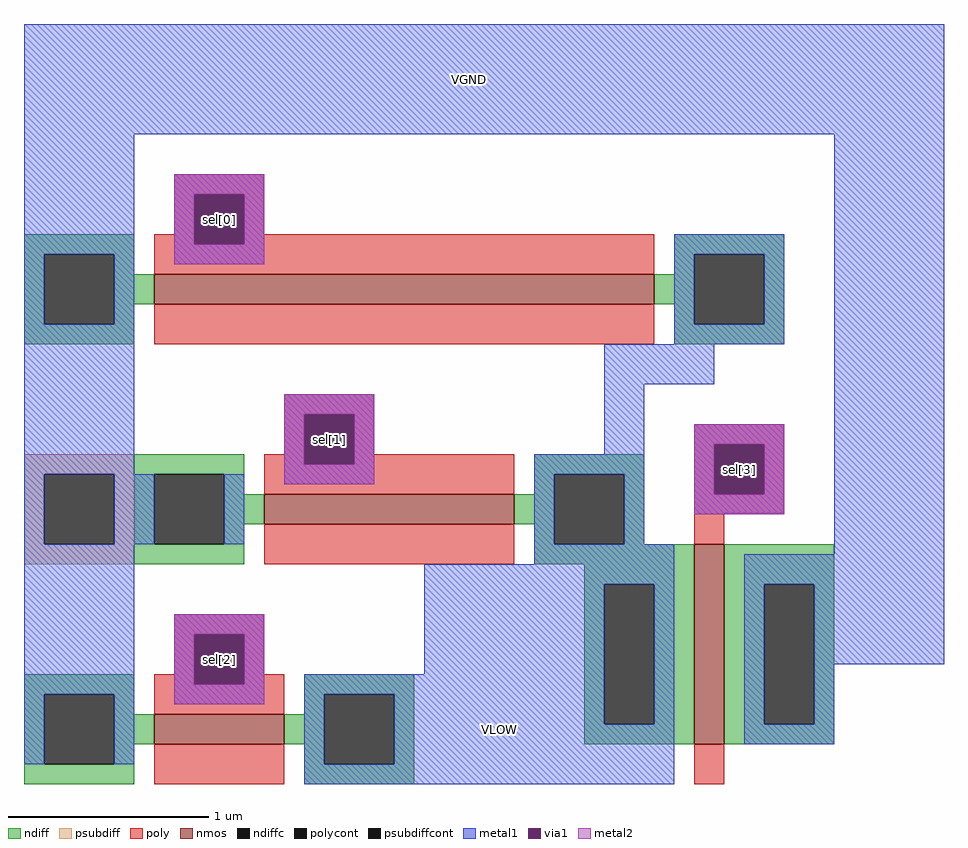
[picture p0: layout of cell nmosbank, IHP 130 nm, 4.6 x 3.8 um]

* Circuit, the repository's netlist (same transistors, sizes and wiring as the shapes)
** sch_path: /home/anton/projects/ttihp26a-fomo/xschem/nmosbank.sch
.subckt nmosbank VGND VLOW sel[3] sel[2] sel[1] sel[0]
*.PININFO VGND:I VLOW:O sel[3:0]:I
M2 VLOW sel[0] VGND VGND sg13_lv_nmos w=0.15u l=2.5u ng=1
M4 VLOW sel[1] VGND VGND sg13_lv_nmos w=0.15u l=1.25u ng=1
M5 VLOW sel[2] VGND VGND sg13_lv_nmos w=0.15u l=0.65u ng=1
M7 VLOW sel[3] VGND VGND sg13_lv_nmos w=1u l=0.15u ng=1
.ends

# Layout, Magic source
magic
tech ihp-sg13g2
<< nmos >>
rect 0 0 250 15
rect 55 -110 180 -95
rect 0 -220 65 -205
rect 270 -220 285 -120
<< ndiff >>
rect -65 25 -10 35
rect -65 -10 -55 25
rect -20 15 -10 25
rect 260 25 315 35
rect 260 15 270 25
rect -20 0 0 15
rect 250 0 270 15
rect -20 -10 -10 0
rect -65 -20 -10 -10
rect 260 -10 270 0
rect 305 -10 315 25
rect 260 -20 315 -10
rect -10 -85 45 -75
rect -10 -120 0 -85
rect 35 -95 45 -85
rect 190 -85 245 -75
rect 190 -95 200 -85
rect 35 -110 55 -95
rect 180 -110 200 -95
rect 35 -120 45 -110
rect -10 -130 45 -120
rect 190 -120 200 -110
rect 235 -120 245 -85
rect 190 -130 270 -120
rect 215 -140 270 -130
rect -65 -195 -10 -185
rect -65 -230 -55 -195
rect -20 -205 -10 -195
rect 75 -195 130 -185
rect 75 -205 85 -195
rect -20 -220 0 -205
rect 65 -220 85 -205
rect -20 -230 -10 -220
rect -65 -240 -10 -230
rect 75 -230 85 -220
rect 120 -230 130 -195
rect 215 -210 225 -140
rect 250 -210 270 -140
rect 215 -220 270 -210
rect 285 -140 340 -120
rect 285 -210 305 -140
rect 330 -210 340 -140
rect 285 -220 340 -210
rect 75 -240 130 -230
<< ndiffc >>
rect -55 -10 -20 25
rect 270 -10 305 25
rect 0 -120 35 -85
rect 200 -120 235 -85
rect -55 -230 -20 -195
rect 85 -230 120 -195
rect 225 -210 250 -140
rect 305 -210 330 -140
<< psubdiff >>
rect -65 -85 -10 -75
rect -65 -120 -55 -85
rect -20 -120 -10 -85
rect -65 -130 -10 -120
<< psubdiffcont >>
rect -55 -120 -20 -85
<< poly >>
rect 10 55 55 65
rect 10 35 20 55
rect 0 30 20 35
rect 45 35 55 55
rect 45 30 250 35
rect 0 15 250 30
rect 0 -20 250 0
rect 65 -55 110 -45
rect 65 -75 75 -55
rect 55 -80 75 -75
rect 100 -75 110 -55
rect 270 -70 315 -60
rect 100 -80 180 -75
rect 55 -95 180 -80
rect 55 -130 180 -110
rect 270 -95 280 -70
rect 305 -95 315 -70
rect 270 -105 315 -95
rect 270 -120 285 -105
rect 10 -165 55 -155
rect 10 -185 20 -165
rect 0 -190 20 -185
rect 45 -185 55 -165
rect 45 -190 65 -185
rect 0 -205 65 -190
rect 0 -240 65 -220
rect 270 -240 285 -220
<< polycont >>
rect 20 30 45 55
rect 75 -80 100 -55
rect 280 -95 305 -70
rect 20 -190 45 -165
<< metal1 >>
rect -65 85 395 140
rect -65 25 -10 85
rect -65 -10 -55 25
rect -20 -10 -10 25
rect 10 55 55 65
rect 10 30 20 55
rect 45 30 55 55
rect 10 20 55 30
rect 260 25 315 35
rect -65 -85 -10 -10
rect 260 -10 270 25
rect 305 -10 315 25
rect 260 -20 315 -10
rect 225 -40 280 -20
rect 65 -55 110 -45
rect 65 -80 75 -55
rect 100 -80 110 -55
rect 225 -75 245 -40
rect -65 -120 -55 -85
rect -20 -120 0 -85
rect 35 -120 45 -85
rect 65 -90 110 -80
rect 190 -85 245 -75
rect 190 -120 200 -85
rect 235 -120 245 -85
rect 270 -70 315 -60
rect 270 -95 280 -70
rect 305 -95 315 -70
rect 270 -105 315 -95
rect -65 -195 -10 -120
rect 190 -130 260 -120
rect 340 -125 395 85
rect 135 -140 260 -130
rect -65 -230 -55 -195
rect -20 -230 -10 -195
rect 10 -165 55 -155
rect 10 -190 20 -165
rect 45 -190 55 -165
rect 135 -185 225 -140
rect 10 -200 55 -190
rect 75 -195 225 -185
rect 75 -230 85 -195
rect 120 -210 225 -195
rect 250 -210 260 -140
rect 120 -230 260 -210
rect 295 -140 395 -125
rect 295 -210 305 -140
rect 330 -180 395 -140
rect 330 -210 340 -180
rect 295 -220 340 -210
rect 75 -240 260 -230
<< via1 >>
rect 20 30 45 55
rect 75 -80 100 -55
rect 280 -95 305 -70
rect 20 -190 45 -165
<< metal2 >>
rect 10 55 55 65
rect 10 30 20 55
rect 45 30 55 55
rect 10 20 55 30
rect 65 -55 110 -45
rect 65 -80 75 -55
rect 100 -80 110 -55
rect 65 -90 110 -80
rect 270 -70 315 -60
rect 270 -95 280 -70
rect 305 -95 315 -70
rect 270 -105 315 -95
rect 10 -165 55 -155
rect 10 -190 20 -165
rect 45 -190 55 -165
rect 10 -200 55 -190
<< labels >>
flabel metal1 130 85 185 140 0 FreeSans 80 0 0 0 VGND
port 2 nsew
flabel metal1 145 -240 200 -185 0 FreeSans 80 0 0 0 VLOW
port 3 nsew
flabel metal2 10 20 55 65 0 FreeSans 80 0 0 0 sel[0]
port 4 nsew
flabel metal2 65 -90 110 -45 0 FreeSans 80 0 0 0 sel[1]
port 5 nsew
flabel metal2 10 -200 55 -155 0 FreeSans 80 0 0 0 sel[2]
port 6 nsew
flabel metal2 270 -105 315 -60 0 FreeSans 80 0 0 0 sel[3]
port 7 nsew
<< end >>
